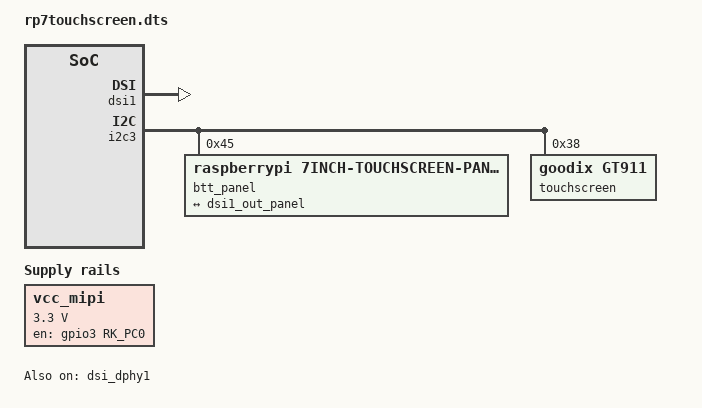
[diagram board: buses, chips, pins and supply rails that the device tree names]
/dts-v1/;
/plugin/;

#include <dt-bindings/gpio/gpio.h>
#include <dt-bindings/interrupt-controller/irq.h>
#include <dt-bindings/pinctrl/rockchip.h>
#include <dt-bindings/clock/rk3568-cru.h>
#include <dt-bindings/soc/rockchip,vop2.h>

/ {
	metadata {
		title = "Enable BTT Pi TFT50 DSI Display";
		compatible = "radxa,rock-3a";
		category = "display";
		exclusive = "dsi1";
		description = "Enable BTT Pi TFT50 5-inch DSI display on DSI1.";
	};
};

/* Power regulator for the DSI connector */
&{/} {
	vcc_mipi: vcc-mipi {
		compatible = "regulator-fixed";
		status = "okay";
		regulator-name = "vcc_mipi";
		regulator-boot-on;
		regulator-always-on;
		regulator-min-microvolt = <3300000>;
		regulator-max-microvolt = <3300000>;
		enable-active-high;
		gpio = <&gpio3 RK_PC0 GPIO_ACTIVE_HIGH>;
	};
};

/* Enable DSI1 DPHY */
&dsi_dphy1 {
	status = "okay";
};

/* Route VOP video port 1 to DSI1 */
&vp1 {
	#address-cells = <1>;
	#size-cells = <0>;

	vp1_out_dsi1: endpoint@ROCKCHIP_VOP2_EP_MIPI1 {
		reg = <ROCKCHIP_VOP2_EP_MIPI1>;
		remote-endpoint = <&dsi1_in_vp1>;
	};
};

/* DSI1 input from VOP VP1 */
&dsi1_in {
	#address-cells = <1>;
	#size-cells = <0>;

	dsi1_in_vp1: endpoint@0 {
		reg = <0>;
		remote-endpoint = <&vp1_out_dsi1>;
	};
};

/* DSI1 output to panel */
&dsi1_out {
	#address-cells = <1>;
	#size-cells = <0>;

	dsi1_out_panel: endpoint@0 {
		reg = <0>;
		remote-endpoint = <&panel_dsi_port>;
	};
};

/* Enable DSI1 controller */
&dsi1 {
	status = "okay";
	rockchip,lane-rate = <696>;
};

/* I2C3 — panel MCU + touch */
&i2c3 {
	status = "okay";
	#address-cells = <1>;
	#size-cells = <0>;

	btt_panel: lcd@45 {
		compatible = "raspberrypi,7inch-touchscreen-panel";
		reg = <0x45>;

		port {
			panel_dsi_port: endpoint {
				remote-endpoint = <&dsi1_out_panel>;
			};
		};
	};

	touchscreen@38 {
		compatible = "goodix,gt911";
		reg = <0x38>;
		/* No IRQ GPIO — driver falls back to polling mode */
		touchscreen-size-x = <800>;
		touchscreen-size-y = <480>;
	};
};
